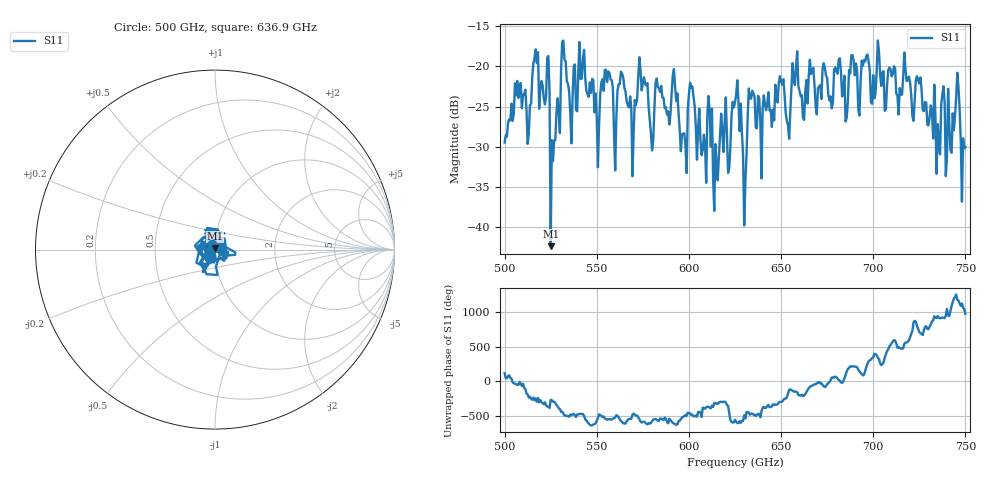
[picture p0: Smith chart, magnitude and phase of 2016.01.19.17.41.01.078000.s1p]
!Created with skrf (http://scikit-rf.org).
# GHz S RI R 50.0
!freq ReS11 ImS11
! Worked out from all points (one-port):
!   401 points, 500 GHz to 750 GHz, reference 50 ohm
!   lowest |S11| = -42.3 dB at 525 GHz (marker M1), VSWR 1.02, Z = 50 + j0.764 ohm
!   |S11| at or under -10 dB: start of sweep to end of sweep
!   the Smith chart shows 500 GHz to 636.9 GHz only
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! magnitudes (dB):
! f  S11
! 500 GHz  -29.5
! 506.9 GHz  -21.8
! 513.1 GHz  -28.4
! 516.9 GHz  -17.9
! 523.1 GHz  -18.9
! 525 GHz  -42.3
! 526.2 GHz  -31.8
! 531.2 GHz  -16.9
! 550 GHz  -26.4
! 562.5 GHz  -22.2
! 568.8 GHz  -25.2
! 573.8 GHz  -20.5
! 579.4 GHz  -28.3
! 593.8 GHz  -23.4
! 597.5 GHz  -28.3
! 601.2 GHz  -22.7
! 608.1 GHz  -28.5
! 611.2 GHz  -25.6
! 614.4 GHz  -29.7
! 625 GHz  -24.5
! 630 GHz  -39.8
! 633.8 GHz  -24.0
! 656.2 GHz  -19.6
! 687.5 GHz  -20.9
! 718.8 GHz  -21.7
! 735 GHz  -27.2
! 745.6 GHz  -20.8
! 750 GHz  -30.0
